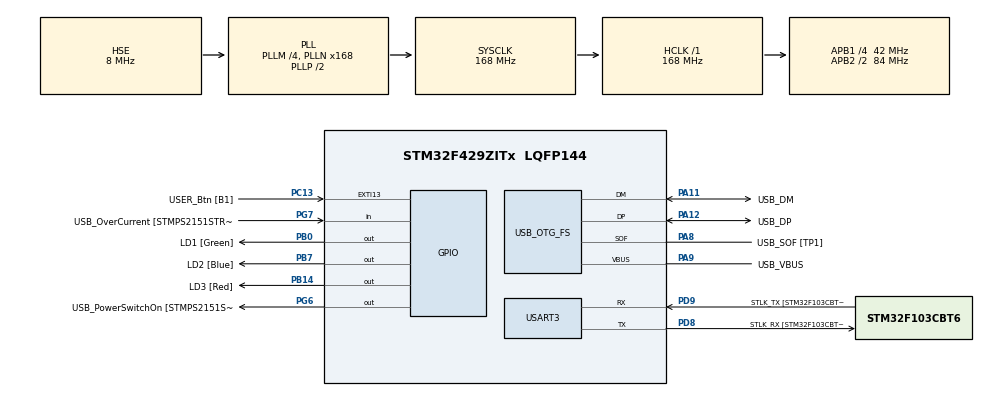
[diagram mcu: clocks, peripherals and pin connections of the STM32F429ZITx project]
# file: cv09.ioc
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Mcu.Family=STM32F4
Mcu.Name=STM32F429ZITx
Mcu.Package=LQFP144
NVIC.OTG_FS_IRQn=true\:0\:0\:false\:false\:true\:true\:true
NVIC.PriorityGroup=NVIC_PRIORITYGROUP_4
PA1.GPIO_Label=RMII_REF_CLK [LAN8742A-CZ-TR_REFCLK0]
PA1.Signal=ETH_REF_CLK
PA10.GPIO_Label=USB_ID
PA10.Signal=USB_OTG_FS_ID
PA11.GPIO_Label=USB_DM
PA11.Mode=Device_Only
PA11.Signal=USB_OTG_FS_DM
PA12.GPIO_Label=USB_DP
PA12.Mode=Device_Only
PA12.Signal=USB_OTG_FS_DP
PA13.GPIO_Label=TMS
PA13.Mode=Serial_Wire
PA13.Signal=SYS_JTMS-SWDIO
PA14.GPIO_Label=TCK
PA14.Mode=Serial_Wire
PA14.Signal=SYS_JTCK-SWCLK
PA2.GPIO_Label=RMII_MDIO [LAN8742A-CZ-TR_MDIO]
PA2.Signal=ETH_MDIO
PA7.GPIO_Label=RMII_CRS_DV [LAN8742A-CZ-TR_CRS_DV]
PA7.Signal=ETH_CRS_DV
PA8.GPIO_Label=USB_SOF [TP1]
PA8.Mode=Activate_SOF_FS
PA8.Signal=USB_OTG_FS_SOF
PA9.GPIO_Label=USB_VBUS
PA9.Mode=Activate_VBUS
PA9.Signal=USB_OTG_FS_VBUS
PB0.GPIO_Label=LD1 [Green]
PB0.Signal=GPIO_Output
PB13.GPIO_Label=RMII_TXD1 [LAN8742A-CZ-TR_TXD1]
PB13.Signal=ETH_TXD1
PB14.GPIO_Label=LD3 [Red]
PB14.Signal=GPIO_Output
PB7.GPIO_Label=LD2 [Blue]
PB7.Signal=GPIO_Output
PC1.GPIO_Label=RMII_MDC [LAN8742A-CZ-TR_MDC]
PC1.Signal=ETH_MDC
PC13.GPIO_Label=USER_Btn [B1]
PC13.Signal=GPXTI13
PC14/OSC32_IN.Mode=LSE-External-Oscillator
PC14/OSC32_IN.Signal=RCC_OSC32_IN
PC15/OSC32_OUT.Mode=LSE-External-Oscillator
PC15/OSC32_OUT.Signal=RCC_OSC32_OUT
PC4.GPIO_Label=RMII_RXD0 [LAN8742A-CZ-TR_RXD0]
PC4.Signal=ETH_RXD0
PC5.GPIO_Label=RMII_RXD1 [LAN8742A-CZ-TR_RXD1]
PC5.Signal=ETH_RXD1
PD8.GPIO_Label=STLK_RX [STM32F103CBT6_PA3]
PD8.Mode=Asynchronous
PD8.Signal=USART3_TX
PD9.GPIO_Label=STLK_TX [STM32F103CBT6_PA2]
PD9.Mode=Asynchronous
PD9.Signal=USART3_RX
PG11.GPIO_Label=RMII_TX_EN [LAN8742A-CZ-TR_TXEN]
PG11.Signal=ETH_TX_EN
PG13.GPIO_Label=RMII_TXD0 [LAN8742A-CZ-TR_TXD0]
PG13.Signal=ETH_TXD0
PG6.GPIO_Label=USB_PowerSwitchOn [STMPS2151STR_EN]
PG6.Signal=GPIO_Output
PG7.GPIO_Label=USB_OverCurrent [STMPS2151STR_FAULT]
PG7.Signal=GPIO_Input
PH0/OSC_IN.GPIO_Label=MCO [STM32F103CBT6_PA8]
PH0/OSC_IN.Mode=HSE-External-Clock-Source
PH0/OSC_IN.Signal=RCC_OSC_IN
PH1/OSC_OUT.Mode=HSE-External-Clock-Source
PH1/OSC_OUT.Signal=RCC_OSC_OUT
ProjectManager.HeapSize=0x200
ProjectManager.StackSize=0x400
ProjectManager.TargetToolchain=STM32CubeIDE
RCC.48MHZClocksFreq_Value=48000000
RCC.AHBFreq_Value=168000000
RCC.APB1CLKDivider=RCC_HCLK_DIV4
RCC.APB1Freq_Value=42000000
RCC.APB1TimFreq_Value=84000000
RCC.APB2CLKDivider=RCC_HCLK_DIV2
RCC.APB2Freq_Value=84000000
RCC.APB2TimCLKDivider=2
RCC.APB2TimFreq_Value=168000000
RCC.CortexFreq_Value=168000000
RCC.HCLKFreq_Value=168000000
RCC.HSE_VALUE=8000000
RCC.HSI_VALUE=16000000
RCC.PLLM=4
RCC.PLLMUL=RCC_PLL_MUL9
RCC.PLLN=168
RCC.PLLQ=7
RCC.PRESCALERUSB=RCC_USBCLKSOURCE_PLL_DIV1_5
RCC.SYSCLKFreq_VALUE=168000000
RCC.SYSCLKSource=RCC_SYSCLKSOURCE_PLLCLK
RCC.SYSCLKSourceVirtual=RCC_SYSCLKSOURCE_PLLCLK
RCC.USBFreq_Value=48000000
RCC.VCOOutputFreq_Value=336000000
USART3.VirtualMode=VM_ASYNC
USB_DEVICE.CLASS_NAME_FS=HID
USB_DEVICE.VirtualMode-HID_FS=Hid
USB_DEVICE.VirtualModeFS=Hid_FS
USB_OTG_FS.VirtualMode=Device_Only
VP_USB_DEVICE_VS_USB_DEVICE_HID_FS.Mode=HID_FS
board=NUCLEO-F429ZI

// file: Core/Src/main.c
/* USER CODE BEGIN Header */
/**
  ******************************************************************************
  * @file           : main.c
  * @brief          : Main program body
  ******************************************************************************
  * @attention
  *
  * <h2><center>&copy; Copyright (c) 2020 STMicroelectronics.
  * All rights reserved.</center></h2>
  *
  * This software component is licensed by ST under BSD 3-Clause license,
  * the "License"; You may not use this file except in compliance with the
  * License. You may obtain a copy of the License at:
  *                        opensource.org/licenses/BSD-3-Clause
  *
  ******************************************************************************
  */
/* USER CODE END Header */
#include "main.h"
#include "usb_device.h"

/* USER CODE BEGIN Includes */
#include "usbd_hid.h"
#include <math.h>
#include <stdbool.h>
/* USER CODE END Includes */

UART_HandleTypeDef huart3;

/* USER CODE BEGIN PV */

extern USBD_HandleTypeDef hUsbDeviceFS;

/* USER CODE END PV */

void SystemClock_Config(void);
static void MX_GPIO_Init(void);
static void MX_USART3_UART_Init(void);
/* USER CODE BEGIN PFP */
void step(int x, int y, bool btn);
/* USER CODE END PFP */

/* USER CODE BEGIN 0 */

void step(int x, int y, bool btn)						//draw line when btn is true, false for step in x,y direction
{
	uint8_t buff[4];

	if (btn == true)
		buff[0] = 0x01; 						// left button push
	else
		buff[0] = 0x00;

	buff[1] = (int8_t)(x); 						// X direction
	buff[2] = (int8_t)(y); 						// Y direction
	buff[3] = 0; 								// without scroll

	USBD_HID_SendReport(&hUsbDeviceFS, buff, sizeof(buff));
	HAL_Delay(USBD_HID_GetPollingInterval(&hUsbDeviceFS));
}

void circle(int radius, float part_of_circle)			// 1 for full circle, decimal number for part of circle
{
	float x, y, delta_phi, phi;
	int8_t sx,sy;
	uint8_t steps = 50;

	sx = 0;
	sy = 0;
	steps = (uint8_t)(steps * part_of_circle);			//50 steps for full circle
	delta_phi = (2*3.14*part_of_circle) / steps;		//step of phi

	for (uint8_t i = 0; i<steps; i++)
	{
		phi = i * delta_phi;
		x = radius * cos(phi);
		y = radius * sin(phi);
		sx = (int8_t)x - sx;							//compute difference for new point
		sy = (int8_t)y - sy;

		step(sx, sy, true);								//draw line
	}
}
/* USER CODE END 0 */

int main(void)
{

  /* MCU Configuration--------------------------------------------------------*/

  /* Reset of all peripherals, Initializes the Flash interface and the Systick. */
  HAL_Init();

  /* Configure the system clock */
  SystemClock_Config();

  /* Initialize all configured peripherals */
  MX_GPIO_Init();
  MX_USART3_UART_Init();
  MX_USB_DEVICE_Init();

  /* Infinite loop */
  /* USER CODE BEGIN WHILE */
  while (1)
  {
	  do{
		  HAL_Delay(40);
	  }while (!HAL_GPIO_ReadPin(USER_Btn_GPIO_Port, USER_Btn_Pin));

	  circle(10,1);			//head (100% of circle)
	  step(-3,-3, false);
	  circle(1,1);			//left eye
	  step(0, 7, false);
	  circle(1,1);			//right eye
	  step(-3,-2, false);
	  step(0,-5,true);		//nose
	  step(4,-1,false);
	  circle(7,0.3);		//mouth (30% of circle)

    /* USER CODE END WHILE */

  }
}

void SystemClock_Config(void)
{
  RCC_OscInitTypeDef RCC_OscInitStruct = {0};
  RCC_ClkInitTypeDef RCC_ClkInitStruct = {0};

  /** Configure the main internal regulator output voltage
  */
  __HAL_RCC_PWR_CLK_ENABLE();
  __HAL_PWR_VOLTAGESCALING_CONFIG(PWR_REGULATOR_VOLTAGE_SCALE1);
  /** Initializes the RCC Oscillators according to the specified parameters
  * in the RCC_OscInitTypeDef structure.
  */
  RCC_OscInitStruct.OscillatorType = RCC_OSCILLATORTYPE_HSE;
  RCC_OscInitStruct.HSEState = RCC_HSE_BYPASS;
  RCC_OscInitStruct.PLL.PLLState = RCC_PLL_ON;
  RCC_OscInitStruct.PLL.PLLSource = RCC_PLLSOURCE_HSE;
  RCC_OscInitStruct.PLL.PLLM = 4;
  RCC_OscInitStruct.PLL.PLLN = 168;
  RCC_OscInitStruct.PLL.PLLP = RCC_PLLP_DIV2;
  RCC_OscInitStruct.PLL.PLLQ = 7;
  if (HAL_RCC_OscConfig(&RCC_OscInitStruct) != HAL_OK)
  {
    Error_Handler();
  }
  /** Initializes the CPU, AHB and APB buses clocks
  */
  RCC_ClkInitStruct.ClockType = RCC_CLOCKTYPE_HCLK|RCC_CLOCKTYPE_SYSCLK
                              |RCC_CLOCKTYPE_PCLK1|RCC_CLOCKTYPE_PCLK2;
  RCC_ClkInitStruct.SYSCLKSource = RCC_SYSCLKSOURCE_PLLCLK;
  RCC_ClkInitStruct.AHBCLKDivider = RCC_SYSCLK_DIV1;
  RCC_ClkInitStruct.APB1CLKDivider = RCC_HCLK_DIV4;
  RCC_ClkInitStruct.APB2CLKDivider = RCC_HCLK_DIV2;

  if (HAL_RCC_ClockConfig(&RCC_ClkInitStruct, FLASH_LATENCY_5) != HAL_OK)
  {
    Error_Handler();
  }
}

static void MX_USART3_UART_Init(void)
{

  huart3.Instance = USART3;
  huart3.Init.BaudRate = 115200;
  huart3.Init.WordLength = UART_WORDLENGTH_8B;
  huart3.Init.StopBits = UART_STOPBITS_1;
  huart3.Init.Parity = UART_PARITY_NONE;
  huart3.Init.Mode = UART_MODE_TX_RX;
  huart3.Init.HwFlowCtl = UART_HWCONTROL_NONE;
  huart3.Init.OverSampling = UART_OVERSAMPLING_16;
  if (HAL_UART_Init(&huart3) != HAL_OK)
  {
    Error_Handler();
  }

}

static void MX_GPIO_Init(void)
{
  GPIO_InitTypeDef GPIO_InitStruct = {0};

  /* GPIO Ports Clock Enable */
  __HAL_RCC_GPIOC_CLK_ENABLE();
  __HAL_RCC_GPIOH_CLK_ENABLE();
  __HAL_RCC_GPIOA_CLK_ENABLE();
  __HAL_RCC_GPIOB_CLK_ENABLE();
  __HAL_RCC_GPIOD_CLK_ENABLE();
  __HAL_RCC_GPIOG_CLK_ENABLE();

  /*Configure GPIO pin Output Level */
  HAL_GPIO_WritePin(GPIOB, LD1_Pin|LD3_Pin|LD2_Pin, GPIO_PIN_RESET);

  /*Configure GPIO pin Output Level */
  HAL_GPIO_WritePin(USB_PowerSwitchOn_GPIO_Port, USB_PowerSwitchOn_Pin, GPIO_PIN_RESET);

  /*Configure GPIO pin : USER_Btn_Pin */
  GPIO_InitStruct.Pin = USER_Btn_Pin;
  GPIO_InitStruct.Mode = GPIO_MODE_IT_RISING;
  GPIO_InitStruct.Pull = GPIO_NOPULL;
  HAL_GPIO_Init(USER_Btn_GPIO_Port, &GPIO_InitStruct);

  /*Configure GPIO pins : RMII_MDC_Pin RMII_RXD0_Pin RMII_RXD1_Pin */
  GPIO_InitStruct.Pin = RMII_MDC_Pin|RMII_RXD0_Pin|RMII_RXD1_Pin;
  GPIO_InitStruct.Mode = GPIO_MODE_AF_PP;
  GPIO_InitStruct.Pull = GPIO_NOPULL;
  GPIO_InitStruct.Speed = GPIO_SPEED_FREQ_VERY_HIGH;
  GPIO_InitStruct.Alternate = GPIO_AF11_ETH;
  HAL_GPIO_Init(GPIOC, &GPIO_InitStruct);

  /*Configure GPIO pins : RMII_REF_CLK_Pin RMII_MDIO_Pin RMII_CRS_DV_Pin */
  GPIO_InitStruct.Pin = RMII_REF_CLK_Pin|RMII_MDIO_Pin|RMII_CRS_DV_Pin;
  GPIO_InitStruct.Mode = GPIO_MODE_AF_PP;
  GPIO_InitStruct.Pull = GPIO_NOPULL;
  GPIO_InitStruct.Speed = GPIO_SPEED_FREQ_VERY_HIGH;
  GPIO_InitStruct.Alternate = GPIO_AF11_ETH;
  HAL_GPIO_Init(GPIOA, &GPIO_InitStruct);

  /*Configure GPIO pins : LD1_Pin LD3_Pin LD2_Pin */
  GPIO_InitStruct.Pin = LD1_Pin|LD3_Pin|LD2_Pin;
  GPIO_InitStruct.Mode = GPIO_MODE_OUTPUT_PP;
  GPIO_InitStruct.Pull = GPIO_NOPULL;
  GPIO_InitStruct.Speed = GPIO_SPEED_FREQ_LOW;
  HAL_GPIO_Init(GPIOB, &GPIO_InitStruct);

  /*Configure GPIO pin : RMII_TXD1_Pin */
  GPIO_InitStruct.Pin = RMII_TXD1_Pin;
  GPIO_InitStruct.Mode = GPIO_MODE_AF_PP;
  GPIO_InitStruct.Pull = GPIO_NOPULL;
  GPIO_InitStruct.Speed = GPIO_SPEED_FREQ_VERY_HIGH;
  GPIO_InitStruct.Alternate = GPIO_AF11_ETH;
  HAL_GPIO_Init(RMII_TXD1_GPIO_Port, &GPIO_InitStruct);

  /*Configure GPIO pin : USB_PowerSwitchOn_Pin */
  GPIO_InitStruct.Pin = USB_PowerSwitchOn_Pin;
  GPIO_InitStruct.Mode = GPIO_MODE_OUTPUT_PP;
  GPIO_InitStruct.Pull = GPIO_NOPULL;
  GPIO_InitStruct.Speed = GPIO_SPEED_FREQ_LOW;
  HAL_GPIO_Init(USB_PowerSwitchOn_GPIO_Port, &GPIO_InitStruct);

  /*Configure GPIO pin : USB_OverCurrent_Pin */
  GPIO_InitStruct.Pin = USB_OverCurrent_Pin;
  GPIO_InitStruct.Mode = GPIO_MODE_INPUT;
  GPIO_InitStruct.Pull = GPIO_NOPULL;
  HAL_GPIO_Init(USB_OverCurrent_GPIO_Port, &GPIO_InitStruct);

  /*Configure GPIO pins : RMII_TX_EN_Pin RMII_TXD0_Pin */
  GPIO_InitStruct.Pin = RMII_TX_EN_Pin|RMII_TXD0_Pin;
  GPIO_InitStruct.Mode = GPIO_MODE_AF_PP;
  GPIO_InitStruct.Pull = GPIO_NOPULL;
  GPIO_InitStruct.Speed = GPIO_SPEED_FREQ_VERY_HIGH;
  GPIO_InitStruct.Alternate = GPIO_AF11_ETH;
  HAL_GPIO_Init(GPIOG, &GPIO_InitStruct);

}

void Error_Handler(void)
{
}

/************************ (C) COPYRIGHT STMicroelectronics *****END OF FILE****/
